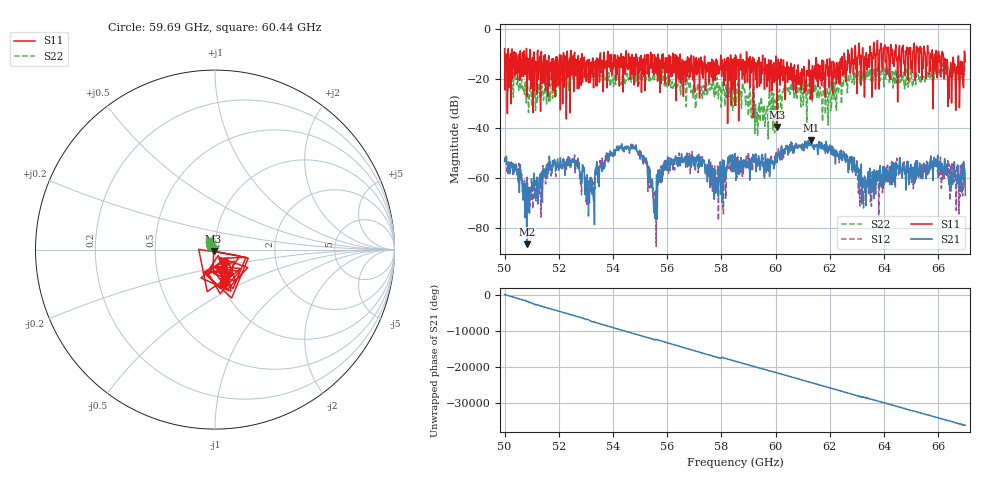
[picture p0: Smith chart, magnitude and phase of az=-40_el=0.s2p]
!Created with skrf (http://scikit-rf.org).
# GHz S RI R 50.0
!freq ReS11 ImS11 ReS21 ImS21 ReS12 ImS12 ReS22 ImS22
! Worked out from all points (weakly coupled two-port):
!   1001 points, 50 GHz to 67 GHz, reference 50 ohm
!   highest |S21| = -44.81 dB at 61.3 GHz (marker M1); lowest = -86.7 dB at 50.82 GHz (marker M2)
!   lowest |S11| = -39.5 dB at 60.05 GHz (marker M3), VSWR 1.02, Z = 49.2 - j0.714 ohm
!   |S11| at or under -10 dB: 51.36 GHz to 52.17 GHz (808.8 MHz wide, 1.56 % of centre); 56.21 GHz to 58.92 GHz (2.717 GHz wide, 4.72 % of centre); 58.93 GHz to 62.53 GHz (3.599 GHz wide, 5.93 % of centre) (the widest 3 of 63)
!   |S22| runs from -44.2 to -13.1 dB; largest |S21 - S12| = 0.0028
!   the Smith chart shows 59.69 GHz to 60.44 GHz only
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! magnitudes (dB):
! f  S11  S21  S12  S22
! 50 GHz  -7.9  -53.2  -53.6  -24.6
! 50.82 GHz  -8.1  -86.7  -69.7  -24.3
! 51.72 GHz  -13.3  -55.3  -59.2  -19.5
! 52.84 GHz  -11.2  -61.8  -66.8  -19.3
! 53.23 GHz  -18.2  -62.3  -60.6  -18.5
! 53.83 GHz  -15.1  -53.6  -52.2  -19.9
! 54.76 GHz  -11.6  -48.0  -48.2  -19.6
! 55.54 GHz  -15.8  -75.4  -70.3  -18.5
! 55.68 GHz  -13.9  -59.5  -57.2  -20.4
! 56.29 GHz  -10.3  -52.5  -52.1  -22.6
! 57.82 GHz  -18.6  -65.0  -61.6  -20.6
! 58.5 GHz  -30.8  -50.2  -56.1  -23.5
! 59.32 GHz  -23.7  -52.8  -52.5  -33.7
! 60.05 GHz  -39.5  -53.8  -50.6  -29.4
! 61.3 GHz  -16.6  -44.8  -45.9  -23.4
! 61.34 GHz  -28.2  -46.2  -46.0  -27.8
! 62.58 GHz  -12.8  -53.7  -52.2  -19.9
! 63.26 GHz  -12.0  -61.8  -66.6  -18.6
! 64.18 GHz  -12.1  -58.6  -61.6  -18.0
! 66.1 GHz  -15.0  -56.1  -58.3  -18.5
! 66.44 GHz  -19.5  -59.6  -60.3  -16.8
! 67 GHz  -13.3  -67.0  -63.9  -14.7
